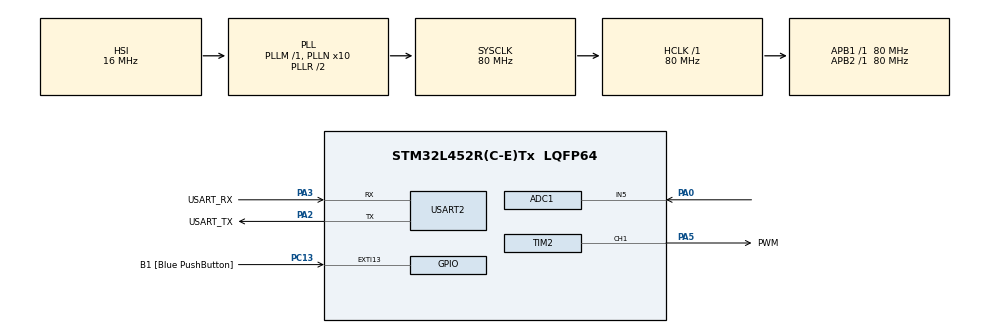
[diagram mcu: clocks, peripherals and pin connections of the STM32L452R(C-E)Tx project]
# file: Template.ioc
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ADC1.Channel-0\#ChannelRegularConversion=ADC_CHANNEL_5
ADC1.ClockPrescaler=ADC_CLOCK_ASYNC_DIV8
ADC1.NbrOfConversionFlag=1
ADC1.OffsetNumber-0\#ChannelRegularConversion=ADC_OFFSET_NONE
ADC1.Rank-0\#ChannelRegularConversion=1
ADC1.SamplingTime-0\#ChannelRegularConversion=ADC_SAMPLETIME_12CYCLES_5
ADC1.master=1
Mcu.Family=STM32L4
Mcu.Name=STM32L452R(C-E)Tx
Mcu.Package=LQFP64
Mcu.UserConstants=PRESCALER_VALUE,(80-1);COUNTER_PERIOD_VALUE,(100-1)
NVIC.PriorityGroup=NVIC_PRIORITYGROUP_4
PA0.Signal=ADCx_IN5
PA13\ (JTMS/SWDIO).GPIO_Label=TMS
PA13\ (JTMS/SWDIO).Mode=Serial_Wire
PA13\ (JTMS/SWDIO).Signal=SYS_JTMS-SWDIO
PA14\ (JTCK/SWCLK).GPIO_Label=TCK
PA14\ (JTCK/SWCLK).Mode=Serial_Wire
PA14\ (JTCK/SWCLK).Signal=SYS_JTCK-SWCLK
PA2.GPIO_Label=USART_TX
PA2.GPIO_Mode=GPIO_MODE_AF_PP
PA2.GPIO_PuPd=GPIO_NOPULL
PA2.GPIO_Speed=GPIO_SPEED_FREQ_VERY_HIGH
PA2.Mode=Asynchronous
PA2.Signal=USART2_TX
PA3.GPIO_Label=USART_RX
PA3.GPIO_Mode=GPIO_MODE_AF_PP
PA3.GPIO_PuPd=GPIO_NOPULL
PA3.GPIO_Speed=GPIO_SPEED_FREQ_VERY_HIGH
PA3.Mode=Asynchronous
PA3.Signal=USART2_RX
PA5.GPIO_Label=PWM
PA5.Signal=S_TIM2_CH1
PB3\ (JTDO/TRACESWO).GPIO_Label=SWO
PB3\ (JTDO/TRACESWO).Signal=SYS_JTDO-SWO
PC13.GPIO_Label=B1 [Blue PushButton]
PC13.GPIO_ModeDefaultEXTI=GPIO_MODE_IT_FALLING
PC13.GPIO_PuPd=GPIO_NOPULL
PC13.Signal=GPXTI13
PC14-OSC32_IN\ (PC14).Mode=LSE-External-Oscillator
PC14-OSC32_IN\ (PC14).Signal=RCC_OSC32_IN
PC15-OSC32_OUT\ (PC15).Mode=LSE-External-Oscillator
PC15-OSC32_OUT\ (PC15).Signal=RCC_OSC32_OUT
PH0-OSC_IN\ (PH0).Signal=RCC_OSC_IN
PH1-OSC_OUT\ (PH1).Signal=RCC_OSC_OUT
ProjectManager.HeapSize=0x200
ProjectManager.StackSize=0x400
ProjectManager.TargetToolchain=STM32CubeIDE
RCC.ADCFreq_Value=64000000
RCC.AHBFreq_Value=80000000
RCC.APB1Freq_Value=80000000
RCC.APB1TimFreq_Value=80000000
RCC.APB2Freq_Value=80000000
RCC.APB2TimFreq_Value=80000000
RCC.CortexFreq_Value=80000000
RCC.HCLKFreq_Value=80000000
RCC.HSE_VALUE=8000000
RCC.HSI48_VALUE=48000000
RCC.HSI_VALUE=16000000
RCC.MSI_VALUE=4000000
RCC.PLLN=10
RCC.PLLSourceVirtual=RCC_PLLSOURCE_HSI
RCC.PREFETCH_ENABLE=1
RCC.SYSCLKFreq_VALUE=80000000
RCC.SYSCLKSource=RCC_SYSCLKSOURCE_PLLCLK
RCC.USBFreq_Value=64000000
RCC.VCOOutputFreq_Value=160000000
SH.ADCx_IN5.0=ADC1_IN5,IN5-Single-Ended
SH.S_TIM2_CH1.0=TIM2_CH1,PWM Generation1 CH1
TIM2.Channel-PWM\ Generation1\ CH1=TIM_CHANNEL_1
TIM2.Period=COUNTER_PERIOD_VALUE
TIM2.Prescaler=PRESCALER_VALUE
USART2.VirtualMode-Asynchronous=VM_ASYNC
board=NUCLEO-L452RE

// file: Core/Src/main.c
/* USER CODE BEGIN Header */
/**
  ******************************************************************************
  * @file           : main.c
  * @brief          : Main program body
  ******************************************************************************
  * @attention
  *
  * Copyright (c) 2022 STMicroelectronics.
  * All rights reserved.
  *
  * This software is licensed under terms that can be found in the LICENSE file
  * in the root directory of this software component.
  * If no LICENSE file comes with this software, it is provided AS-IS.
  *
  ******************************************************************************
  */
/* USER CODE END Header */
#include "main.h"
#include "adc.h"
#include "tim.h"
#include "usart.h"
#include "gpio.h"

/* USER CODE BEGIN Includes */
#include <stdio.h>
#include "gpio_if.h"
#include "adc_if.h"
#include "pwm.h"

/* USER CODE END Includes */

/* USER CODE BEGIN PD */
#define TX_TIMEOUT_MS  100   /**< Transmission time timeout over UART */
#define DELAY_MS       100   /**< Delay timeout */

/* USER CODE END PD */

void SystemClock_Config(void);

int main(void)
{
  /* USER CODE BEGIN 1 */
#if 0
  t_gpio_pin user_led_pin = {LD4_GPIO_Port, LD4_Pin};
  t_gpio_if user_led;
#endif
  t_gpio_pin user_button_pin = {B1_GPIO_Port, B1_Pin};
  t_gpio_if user_button;
  t_adc_if potentiometer;
  t_pwm pwm;
  uint8_t adc_rate;

  /* USER CODE END 1 */

  /* MCU Configuration--------------------------------------------------------*/

  /* Reset of all peripherals, Initializes the Flash interface and the Systick. */
  HAL_Init();

  /* Configure the system clock */
  SystemClock_Config();

  /* Initialize all configured peripherals */
  MX_GPIO_Init();
  MX_USART2_UART_Init();
  MX_ADC1_Init();
  MX_TIM2_Init();

  /* Infinite loop */
  /* USER CODE BEGIN WHILE */

  /* Init custom GPIO */
#if 0
  gpio_if_init(&user_led, ACTIVE_HIGH, &user_led_pin, GPIO_IF_CLEAR);
  if (gpio_if_open(&user_led) != GPIO_IF_SUCCESS)
  {
    Error_Handler();
  }
#endif
  gpio_if_init(&user_button, ACTIVE_LOW, &user_button_pin, GPIO_IF_INPUT);
  if (gpio_if_open(&user_button) != GPIO_IF_SUCCESS)
  {
    Error_Handler();
  }

  /* Init custom ADC */
  adc_if_init(&potentiometer, &hadc1);
  if (adc_if_open(&potentiometer) != ADC_IF_SUCCESS)
  {
    Error_Handler();
  }

  /* Init PWM */
  pwm_init(&pwm, &htim2, TIM_CHANNEL_1, COUNTER_PERIOD_VALUE);
  if (pwm_open(&pwm) != PWM_SUCCESS)
  {
    Error_Handler();
  }

  /* Welcome message */
  printf("ELO301 Demo Init\r\n");

  while (1)
  {
#if 0
    /* Blink user LED */
    gpio_if_toggle(&user_led);
#endif
    if (adc_if_get_rate(&potentiometer, &adc_rate) != ADC_IF_SUCCESS)
    {
      Error_Handler();
    }
    pwm_update(&pwm, adc_rate);
    HAL_Delay(DELAY_MS);

    /* Print message */
    printf("Button: %u\r\n", gpio_if_get(&user_button));

    /* USER CODE END WHILE */

  }
}

void SystemClock_Config(void)
{
  RCC_OscInitTypeDef RCC_OscInitStruct = {0};
  RCC_ClkInitTypeDef RCC_ClkInitStruct = {0};

  /** Configure the main internal regulator output voltage
  */
  if (HAL_PWREx_ControlVoltageScaling(PWR_REGULATOR_VOLTAGE_SCALE1) != HAL_OK)
  {
    Error_Handler();
  }

  /** Initializes the RCC Oscillators according to the specified parameters
  * in the RCC_OscInitTypeDef structure.
  */
  RCC_OscInitStruct.OscillatorType = RCC_OSCILLATORTYPE_HSI;
  RCC_OscInitStruct.HSIState = RCC_HSI_ON;
  RCC_OscInitStruct.HSICalibrationValue = RCC_HSICALIBRATION_DEFAULT;
  RCC_OscInitStruct.PLL.PLLState = RCC_PLL_ON;
  RCC_OscInitStruct.PLL.PLLSource = RCC_PLLSOURCE_HSI;
  RCC_OscInitStruct.PLL.PLLM = 1;
  RCC_OscInitStruct.PLL.PLLN = 10;
  RCC_OscInitStruct.PLL.PLLP = RCC_PLLP_DIV7;
  RCC_OscInitStruct.PLL.PLLQ = RCC_PLLQ_DIV2;
  RCC_OscInitStruct.PLL.PLLR = RCC_PLLR_DIV2;
  if (HAL_RCC_OscConfig(&RCC_OscInitStruct) != HAL_OK)
  {
    Error_Handler();
  }

  /** Initializes the CPU, AHB and APB buses clocks
  */
  RCC_ClkInitStruct.ClockType = RCC_CLOCKTYPE_HCLK|RCC_CLOCKTYPE_SYSCLK
                              |RCC_CLOCKTYPE_PCLK1|RCC_CLOCKTYPE_PCLK2;
  RCC_ClkInitStruct.SYSCLKSource = RCC_SYSCLKSOURCE_PLLCLK;
  RCC_ClkInitStruct.AHBCLKDivider = RCC_SYSCLK_DIV1;
  RCC_ClkInitStruct.APB1CLKDivider = RCC_HCLK_DIV1;
  RCC_ClkInitStruct.APB2CLKDivider = RCC_HCLK_DIV1;

  if (HAL_RCC_ClockConfig(&RCC_ClkInitStruct, FLASH_LATENCY_4) != HAL_OK)
  {
    Error_Handler();
  }
}

/* USER CODE BEGIN 4 */

/**
 * @brief Function that bridges HAL with printf
 * @param file Not in use
 * @param ptr Pointer to data to be printed out
 * @param len Length of the data to be printed out
 * @return len
 */
int _write(int file, char *ptr, int len)
{
  if (HAL_UART_Transmit(&huart2, (uint8_t *)ptr, len, TX_TIMEOUT_MS) != HAL_OK)
  {
    Error_Handler();
  }

  return len;
}

/* USER CODE END 4 */

void Error_Handler(void)
{
  __disable_irq();
  while (1)
  {
  }
}
